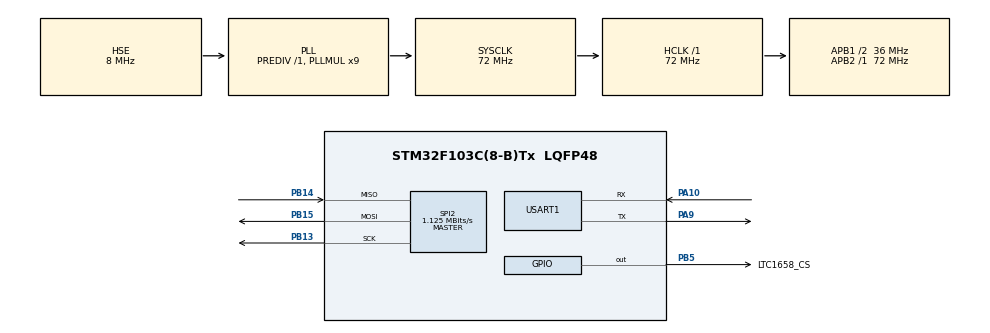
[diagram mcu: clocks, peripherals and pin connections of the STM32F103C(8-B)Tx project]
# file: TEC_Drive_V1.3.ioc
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Mcu.Family=STM32F1
Mcu.Name=STM32F103C(8-B)Tx
Mcu.Package=LQFP48
NVIC.PriorityGroup=NVIC_PRIORITYGROUP_4
NVIC.RCC_IRQn=true\:0\:0\:false\:false\:true\:true\:false\:true
NVIC.SPI2_IRQn=true\:0\:0\:false\:false\:true\:true\:true\:true
NVIC.USART1_IRQn=true\:0\:0\:false\:false\:true\:true\:true\:true
PA10.Mode=Asynchronous
PA10.Signal=USART1_RX
PA13.Mode=Serial_Wire
PA13.Signal=SYS_JTMS-SWDIO
PA14.Mode=Serial_Wire
PA14.Signal=SYS_JTCK-SWCLK
PA9.Mode=Asynchronous
PA9.Signal=USART1_TX
PB13.Mode=Full_Duplex_Master
PB13.Signal=SPI2_SCK
PB14.GPIO_Mode=GPIO_MODE_INPUT
PB14.Mode=Full_Duplex_Master
PB14.Signal=SPI2_MISO
PB15.Mode=Full_Duplex_Master
PB15.Signal=SPI2_MOSI
PB5.GPIO_Label=LTC1658_CS
PB5.GPIO_Speed=GPIO_SPEED_FREQ_MEDIUM
PB5.Signal=GPIO_Output
PD0-OSC_IN.Mode=HSE-External-Oscillator
PD0-OSC_IN.Signal=RCC_OSC_IN
PD1-OSC_OUT.Mode=HSE-External-Oscillator
PD1-OSC_OUT.Signal=RCC_OSC_OUT
ProjectManager.HeapSize=0x200
ProjectManager.StackSize=0x400
ProjectManager.TargetToolchain=STM32CubeIDE
RCC.AHBFreq_Value=72000000
RCC.APB1CLKDivider=RCC_HCLK_DIV2
RCC.APB1Freq_Value=36000000
RCC.APB1TimFreq_Value=72000000
RCC.APB2Freq_Value=72000000
RCC.APB2TimFreq_Value=72000000
RCC.HCLKFreq_Value=72000000
RCC.PLLMUL=RCC_PLL_MUL9
RCC.PLLSourceVirtual=RCC_PLLSOURCE_HSE
RCC.SYSCLKFreq_VALUE=72000000
RCC.SYSCLKSource=RCC_SYSCLKSOURCE_PLLCLK
RCC.USBFreq_Value=72000000
SPI2.BaudRatePrescaler=SPI_BAUDRATEPRESCALER_32
SPI2.CLKPolarity=SPI_POLARITY_HIGH
SPI2.CalculateBaudRate=1.125 MBits/s
SPI2.DataSize=SPI_DATASIZE_8BIT
SPI2.Direction=SPI_DIRECTION_2LINES
SPI2.Mode=SPI_MODE_MASTER
SPI2.VirtualType=VM_MASTER
USART1.VirtualMode=VM_ASYNC
board=custom

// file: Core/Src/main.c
/* USER CODE BEGIN Header */
/**
  ******************************************************************************
  * @file           : main.c
  * @brief          : Main program body
  ******************************************************************************
  * @attention
  *
  * Copyright (c) 2023 STMicroelectronics.
  * All rights reserved.
  *
  * This software is licensed under terms that can be found in the LICENSE file
  * in the root directory of this software component.
  * If no LICENSE file comes with this software, it is provided AS-IS.
  *
  ******************************************************************************
  */
#include "math.h"
/* USER CODE END Header */
#include "main.h"
#include "spi.h"
#include "usart.h"
#include "gpio.h"

/* USER CODE BEGIN PD */
#define B_Wert  3988
#define Uref    2.7
#define R7      10000
/* USER CODE END PD */

void SystemClock_Config(void);

/* USER CODE BEGIN 0 */
float Widerstand_NTC( float Temperatur){

	uint16_t RN = 10000;
	float T25 = 25 + 273.15; // oder float T25 = 298.15 (( RT = RN * EXP(B(1/T - 1/TN)) ))
	Temperatur = Temperatur + 273.15;
	float x = B_Wert * ( 1/Temperatur - 1/T25);

	return RN * exp(x);

}
float Spannung (float RT){

	float U = RT * (Uref/(R7+ RT));  // SAPANNUGSTEILER FORMEL U = UTSpannug an NTC

	return U;

}

uint16_t U_digit( float U){

	uint16_t Digit = 16383 * U/Uref; // 2 hoch n *( u/ uref) (ADC Wandler forml), n = 14 bit

	return Digit;

}
uint16_t getDigitBy(float Temperatur){

	float RT = Widerstand_NTC(Temperatur);
	float U = Spannung(RT);
	uint16_t  digit = U_digit(U);

	return digit;
}

/********************************************************************************
 * Diese Routine aktiviert den Chip select (Pin Low) um Daten transfert über
 * SPI zu erlauben
 ********************************************************************************/
void LTC1658_Enable_CS(){
	HAL_GPIO_WritePin(LTC1658_CS_GPIO_Port, LTC1658_CS_Pin, GPIO_PIN_RESET);
}

/********************************************************************************
 * Diese Routine deaktiviert den Chip select (Pin High) um Daten transfert über
 * SPI zu stoppen.
 ********************************************************************************/
void LTC1658_Disable_CS(){
	HAL_GPIO_WritePin(LTC1658_CS_GPIO_Port, LTC1658_CS_Pin, GPIO_PIN_SET);
}

/********************************************************************************
 * Diese Routine schreibt daten zu den DAC Wandler.
 * das ist ein 16bit daten. Es wird davon nur 14Bit vom DAC verwendet aber 8 bit
 * und dann nochmal 8bit deswegen 2
 ********************************************************************************/
void LTC1658_WriteData(uint16_t data){

	//Die 2 letzte Bits werden nicht berücksichtigt. Data soll um 2 Bit nach
	//links verschoben werden.
	//data <<= 2;

	//Aktiviere Das IC durch Chip select (Low)
	LTC1658_Enable_CS();

	HAL_SPI_Transmit(&hspi2, (uint8_t *)&data, 2, 100);

	//Deaktiviere Das IC durch Chip select (High)
	LTC1658_Disable_CS();

}

/***********************************************************************
 * Diese Funktion wird benutzt um digitale Werte von Spannung über SPI
 * an der LTC1658 zu schicken.
 ************************************************************************/
void sendDigitalVoltage(float voltage){
	float referenceVoltage = 2.7;
	uint16_t digitValue = 16383 * voltage/referenceVoltage;

	LTC1658_WriteData(digitValue);
}

/* USER CODE END 0 */

int main(void)
{
  /* USER CODE BEGIN 1 */
	uint16_t digit;
	float widerstand, spannung;
	uint8_t c;
	float temperature;
  /* USER CODE END 1 */

  /* MCU Configuration--------------------------------------------------------*/

  /* Reset of all peripherals, Initializes the Flash interface and the Systick. */
  HAL_Init();

  /* Configure the system clock */
  SystemClock_Config();

  /* Initialize all configured peripherals */
  MX_GPIO_Init();
  MX_SPI2_Init();
  MX_USART1_UART_Init();
  /* USER CODE BEGIN 2 */

  temperature = 20;
  digit = getDigitBy(temperature);
  widerstand = Widerstand_NTC(temperature);
  spannung = Spannung(widerstand);
  /* USER CODE END 2 */

  /* Infinite loop */
  /* USER CODE BEGIN WHILE */
  while (1)
  {
 	  c=0;
	  //LTC1658_WriteData(digit);
 	 sendDigitalVoltage(0.5);  //das ist der Test um 500mV (0.5V) zu schicken
	  for(int i=0; i<500000; i++); /* wartezeit damit der prozessor kurz moment warten um neu digit zu schicken*/

	  /*HAL_UART_Transmit(&huart1, "Ende\n\r", 6, 100);*/
	  HAL_UART_Receive(&huart1, &c ,1, 100);
	  if ( c != 0)
	  HAL_UART_Transmit(&huart1, &c, 1, 100);

    /* USER CODE END WHILE */

  }
}

void SystemClock_Config(void)
{
  RCC_OscInitTypeDef RCC_OscInitStruct = {0};
  RCC_ClkInitTypeDef RCC_ClkInitStruct = {0};

  /** Initializes the RCC Oscillators according to the specified parameters
  * in the RCC_OscInitTypeDef structure.
  */
  RCC_OscInitStruct.OscillatorType = RCC_OSCILLATORTYPE_HSE;
  RCC_OscInitStruct.HSEState = RCC_HSE_ON;
  RCC_OscInitStruct.HSEPredivValue = RCC_HSE_PREDIV_DIV1;
  RCC_OscInitStruct.HSIState = RCC_HSI_ON;
  RCC_OscInitStruct.PLL.PLLState = RCC_PLL_ON;
  RCC_OscInitStruct.PLL.PLLSource = RCC_PLLSOURCE_HSE;
  RCC_OscInitStruct.PLL.PLLMUL = RCC_PLL_MUL9;
  if (HAL_RCC_OscConfig(&RCC_OscInitStruct) != HAL_OK)
  {
    Error_Handler();
  }

  /** Initializes the CPU, AHB and APB buses clocks
  */
  RCC_ClkInitStruct.ClockType = RCC_CLOCKTYPE_HCLK|RCC_CLOCKTYPE_SYSCLK
                              |RCC_CLOCKTYPE_PCLK1|RCC_CLOCKTYPE_PCLK2;
  RCC_ClkInitStruct.SYSCLKSource = RCC_SYSCLKSOURCE_PLLCLK;
  RCC_ClkInitStruct.AHBCLKDivider = RCC_SYSCLK_DIV1;
  RCC_ClkInitStruct.APB1CLKDivider = RCC_HCLK_DIV2;
  RCC_ClkInitStruct.APB2CLKDivider = RCC_HCLK_DIV1;

  if (HAL_RCC_ClockConfig(&RCC_ClkInitStruct, FLASH_LATENCY_2) != HAL_OK)
  {
    Error_Handler();
  }
}

void Error_Handler(void)
{
  __disable_irq();
  while (1)
  {
  }
}
